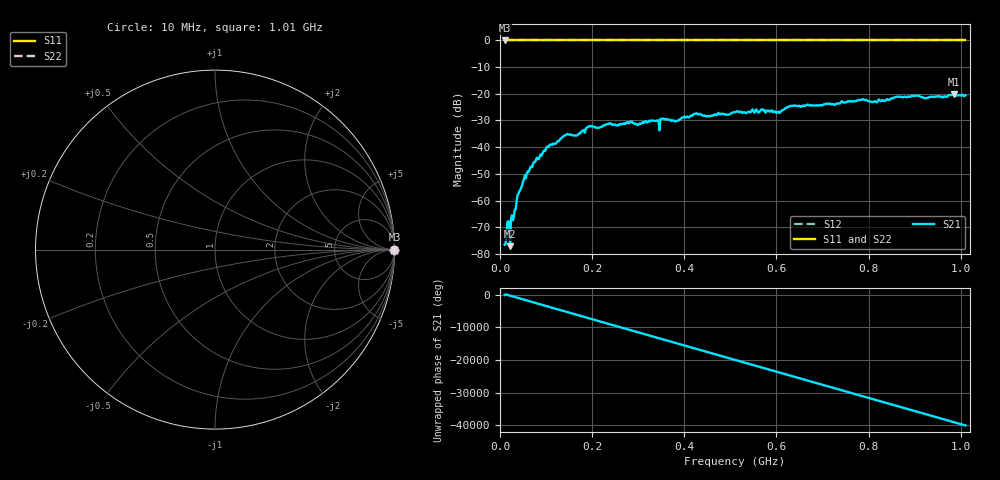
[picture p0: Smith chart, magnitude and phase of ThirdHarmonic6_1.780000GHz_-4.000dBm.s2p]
! 8/16/2025 9:30:47 PM
! C:\ANRITSUVNA\TEMP\TEMP.S2P
! CHANNEL.1
! TR.MEASUREMENT
! RAW.DATA
! RF.CORRECTION.OFF
! AVERAGING.OFF
! IF.BANDWIDTH: 5KHZ
! SWEEPTYPE:  FREQ.SWEEP(Linear)
! Reference Plane Port Info
! PORT:  PORT1  PORT2
! DISTANCE:  0  m  0  m
! TIME:  0  s  0  s
! PHASE.OFFSET:  0  deg.  0  deg.
! LOSS:  0  dB  0  dB
! REF.LOSS:  0  dB  0  dB
! REF.FREQ:  0  Hz  0  Hz
! Power Info
! POWER:  -20  dBm  -20  dBm
! EFF.POWER:  -20  dBm  -20  dBm
! SOURCE.ATTEN:  0  dB  0  dB
! TEST.ATTEN:  0  dB  0  dB
# GHZ S RI R 50.0
! FREQ.GHZ  S11RE  S11IM  S21RE  S21IM  S12RE  S12IM  S22RE  S22IM
!; PortSelection: Port_12
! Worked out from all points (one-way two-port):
!   501 points, 10 MHz to 1.01 GHz, reference 50 ohm
!   highest |S21| = -20.23 dB at 986 MHz (marker M1); lowest = -77.1 dB at 22 MHz (marker M2)
!   lowest |S11| = 0.0 dB at 10 MHz (marker M3)
!   |S11| at or under -10 dB: nowhere
!   |S22| runs from 0.0 to 0.0 dB; largest |S21 - S12| = 1.1
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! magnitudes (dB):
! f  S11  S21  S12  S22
! 10 MHz  0.0  -76.6  0.0  0.0
! 16 MHz  0.0  -68.1  0.0  0.0
! 22 MHz  0.0  -77.1  0.0  0.0
! 26 MHz  0.0  -65.5  0.0  0.0
! 28 MHz  0.0  -67.4  0.0  0.0
! 40 MHz  0.0  -57.5  0.0  0.0
! 50 MHz  0.0  -52.9  0.0  0.0
! 76 MHz  0.0  -45.6  0.0  0.0
! 106 MHz  0.0  -39.7  0.0  0.0
! 140 MHz  0.0  -35.6  0.0  0.0
! 178 MHz  0.0  -33.9  0.0  0.0
! 234 MHz  0.0  -31.4  0.0  0.0
! 344 MHz  0.0  -30.0  0.0  0.0
! 424 MHz  0.0  -27.5  0.0  0.0
! 452 MHz  0.0  -28.3  0.0  0.0
! 510 MHz  0.0  -26.9  0.0  0.0
! 604 MHz  0.0  -26.7  0.0  0.0
! 632 MHz  0.0  -24.5  0.0  0.0
! 678 MHz  0.0  -24.4  0.0  0.0
! 844 MHz  0.0  -22.3  0.0  0.0
! 986 MHz  0.0  -20.2  0.0  0.0
! 1.01 GHz  0.0  -20.6  0.0  0.0
